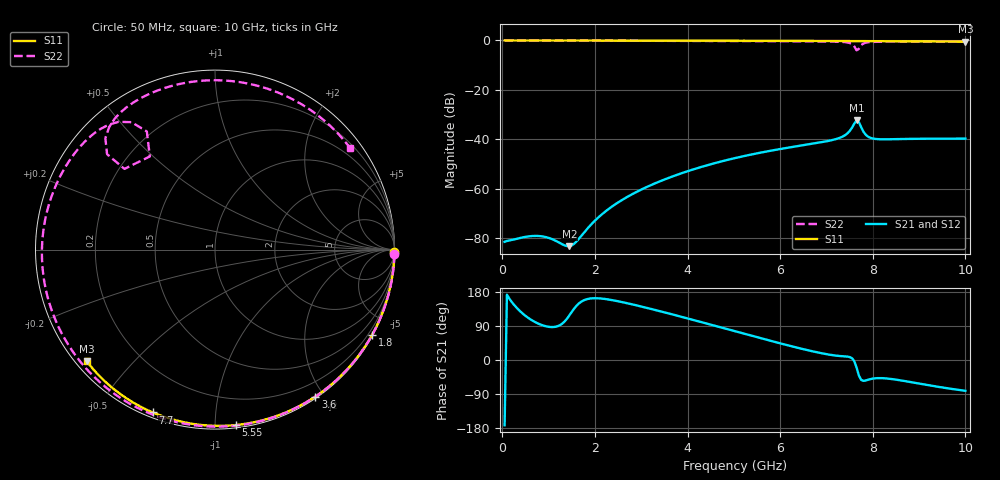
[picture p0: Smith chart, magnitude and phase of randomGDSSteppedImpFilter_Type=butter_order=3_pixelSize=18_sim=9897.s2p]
! freq	dB(S11)	phase(S11)	dB(S12)	phase(S12)
!  dB(S21)	phase(S21)	dB(S22)	phase(S22)
!S-par simulation data
#  GHz  S  DB  R 50
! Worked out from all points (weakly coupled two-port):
!   200 points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, 50 MHz to 10 GHz, reference 50 ohm
!   highest |S21| = -32.31 dB at 7.65 GHz (marker M1); lowest = -83.1 dB at 1.45 GHz (marker M2)
!   lowest |S11| = -0.5 dB at 10 GHz (marker M3), VSWR 37.00, Z = 1.54 - j18.7 ohm
!   |S11| at or under -10 dB: nowhere
!   |S22| runs from -4.0 to 0.0 dB; largest |S21 - S12| = 0
!   S11 on the Smith chart (normalised r, x): 50 MHz: open; 1.8 GHz: 0.03, -3.93; 3.6 GHz: 0.02, -1.89; 5.55 GHz: 0.02, -1.13; 7.7 GHz: 0.02, -0.69; 10 GHz: 0.03, -0.37
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0.05  -0.00 -0.8  -81.37 -172.2  -81.37 -172.2  -0.00 -1.5
0.7  -0.01 -11.2  -78.99 100.6  -78.99 100.6  -0.02 -21.2
1.45  -0.03 -23.1  -83.14 117.9  -83.14 117.9  -0.05 -43.5
1.65  -0.03 -26.2  -80.25 148.9  -80.25 148.9  -0.06 -49.4
1.75  -0.04 -27.7  -77.98 157.0  -77.98 157.0  -0.07 -52.3
1.8  -0.04 -28.5  -76.86 159.5  -76.86 159.5  -0.07 -53.8
2.45  -0.05 -38.5  -66.08 156.2  -66.08 156.2  -0.09 -72.6
3.4  -0.07 -52.8  -56.95 128.9  -56.95 128.9  -0.13 -99.5
3.6  -0.08 -55.7  -55.48 122.6  -55.48 122.6  -0.14 -105.1
5.05  -0.12 -76.3  -47.43 74.9  -47.43 74.9  -0.23 -146.4
5.55  -0.14 -83.1  -45.44 58.4  -45.44 58.4  -0.26 -161.2
6.7  -0.19 -98.2  -41.73 22.9  -41.73 22.9  -0.38 161.7
7.2  -0.22 -104.6  -39.89 11.6  -39.89 11.6  -0.49 142.8
7.5  -0.24 -108.4  -36.63 7.9  -36.63 7.9  -1.00 127.0
7.6  -0.25 -109.6  -33.62 -2.9  -33.62 -2.9  -2.39 120.0
7.65  -0.25 -110.3  -32.31 -19.9  -32.31 -19.9  -3.97 125.0
7.7  -0.25 -110.9  -33.00 -41.0  -33.00 -41.0  -3.40 138.3
7.75  -0.25 -111.5  -35.08 -52.5  -35.08 -52.5  -1.91 138.5
7.9  -0.27 -113.4  -38.90 -52.1  -38.90 -52.1  -0.73 127.4
8.35  -0.30 -119.0  -39.94 -49.4  -39.94 -49.4  -0.51 105.7
9.15  -0.38 -128.7  -39.71 -65.4  -39.71 -65.4  -0.51 71.9
10  -0.47 -139.0  -39.67 -81.3  -39.67 -81.3  -0.52 36.9
